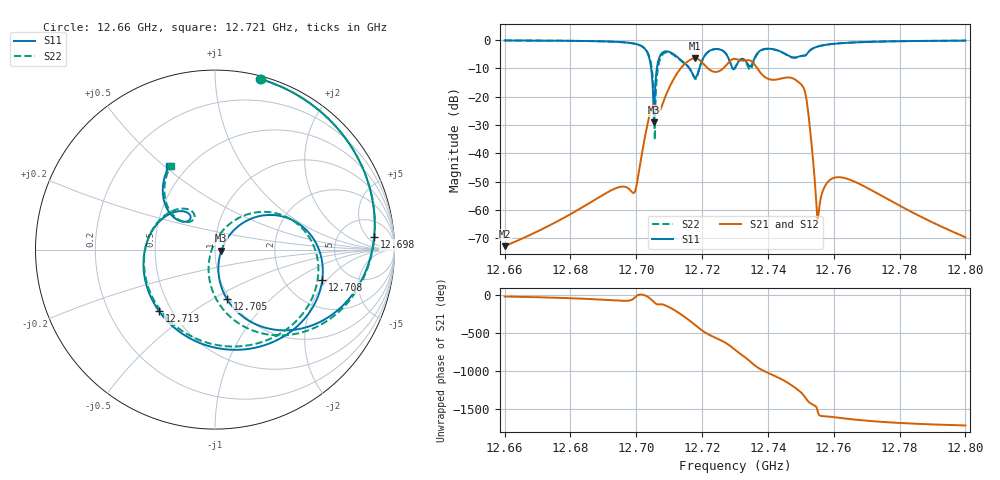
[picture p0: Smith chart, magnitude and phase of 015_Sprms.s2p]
! TOUCHSTONE file generated by CST MICROWAVE STUDIO
! Date and time: Wed Jul 31 11:21:23 2024
! Project name: WaveGuide_BPF-Ver4.1_U-shape_Ku_T3_C4_CWA_2.cst
! Parameters = {cavity_h=16; cavity_l0=10; cavity_l1=15.1712; cavity_l2=16.8484; cavity_l3=17.091; cavity_l4=17.3014; cavity_l5=17.1413; cavity_l6=17.5877; cavity_r=2.5; cavity_screw_l=0.5; cavity_screw_r=1.5; cavity_w=8; iris_h00=0; iris_h01=8.8247; iris_h112=0; iris_h12=5.6026; iris_h211=3.6645; i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
! Header version: 2018
! Port assignment regex: !\s*Touchstone port\s*([0-9]+)\s*=\s*(CST MWS port|CST DS port)\s*([0-9]+|Zmin|Zmax)\s*\(\"(.*)\"\)(\s*mode\s*([0-9]+))?.*
! Touchstone port assignment:
! Touchstone port 1 = CST MWS port 1 ("")
! Touchstone port 2 = CST MWS port 2 ("")
# GHz S RI R 50
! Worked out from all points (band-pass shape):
!   5001 points, 12.66 GHz to 12.8 GHz, reference 50 ohm
!   highest |S21| = -6.43 dB at 12.718 GHz (marker M1); lowest = -72.7 dB at 12.66 GHz (marker M2)
!   |S21| within 3 dB of the highest: 12.7139 GHz to 12.72127 GHz (7.366 MHz wide, 0.0579 % of centre); 12.72689 GHz to 12.73642 GHz (9.527 MHz wide, 0.0748 % of centre)
!   lowest |S11| = -29.0 dB at 12.705 GHz (marker M3), VSWR 1.07, Z = 53.6 - j0.685 ohm
!   |S11| at or under -10 dB: 12.70453 GHz to 12.70626 GHz (1.73 MHz wide, 0.0136 % of centre); 12.71621 GHz to 12.71916 GHz (2.949 MHz wide, 0.0232 % of centre); 12.72924 GHz to 12.72993 GHz (692.5 kHz wide, 0.00544 % of centre)
!   |S22| runs from -35.3 to -0.1 dB; largest |S21 - S12| = 1e-09
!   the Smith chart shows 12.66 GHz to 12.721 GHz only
!   S11 on the Smith chart (normalised r, x): 12.66 GHz: 0.02, +1.30; 12.698 GHz: 12, +8; 12.705 GHz: 0.97, -0.58; 12.708 GHz: 3.22, -1.78; 12.713 GHz: 0.43, -0.37; 12.721 GHz: 0.40, +0.52
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12.66  0.2531 0.9502  0.000219 -7.53e-05  0.000219 -7.53e-05  0.2576 0.9489
12.68335  0.6374 0.7235  0.000747 -0.000806  0.000747 -0.000806  0.6437 0.7175
12.69811  0.8867 0.0713  0.000766 -0.00214  0.000766 -0.00214  0.8861 0.0502
12.70463  0.0658 -0.2741  0.0297 -0.0545  0.0297 -0.0545  0.0486 -0.3368
12.70539  0.035 -0.00638  -0.00354 -0.0719  -0.00354 -0.0719  -0.0347 -0.0805
12.70668  0.3835 0.1827  -0.0307 -0.048  -0.0307 -0.048  0.2693 0.2104
12.70841  0.5976 -0.1697  -0.0542 -0.0677  -0.0542 -0.0677  0.5759 -0.1017
12.71317  -0.3128 -0.3417  -0.1414 0.2641  -0.1414 0.2641  -0.3183 -0.3181
12.71785  -0.1395 0.1684  0.4045 -0.2529  0.4045 -0.2529  -0.1193 0.1686
12.72079  -0.2572 0.463  -0.2231 -0.2838  -0.2231 -0.2838  -0.2471 0.466
12.72619  0.5087 0.4099  -0.1302 0.2797  -0.1302 0.2797  0.5174 0.4006
12.73  0.2652 0.1812  0.4651 0.000422  0.4651 0.000422  0.2783 0.1707
12.73487  0.33 0.1202  -0.4104 -0.1226  -0.4104 -0.1226  0.2886 0.1086
12.73896  0.6505 -0.2453  0.045 0.2206  0.045 0.2206  0.6502 -0.2302
12.74305  0.0197 -0.6539  0.2031 -0.00903  0.2031 -0.00903  0.0203 -0.6506
12.74655  -0.5159 -0.0515  0.00965 -0.218  0.00965 -0.218  -0.51 -0.0347
12.75103  0.3642 0.3852  -0.0509 0.1252  -0.0509 0.1252  0.3876 0.3588
12.75335  0.6893 0.079  0.0128 0.00132  0.0128 0.00132  0.6945 0.0458
12.75528  0.7092 -0.3044  -0.000345 -0.000711  -0.000345 -0.000711  0.6986 -0.3351
12.7608  0.1951 -0.8438  -0.00372 -0.000735  -0.00372 -0.000735  0.1714 -0.8509
12.77668  -0.7955 -0.5126  -0.00092 0.00122  -0.00092 0.00122  -0.8027 -0.5023
12.8  -0.9682 0.127  2.48e-05 0.000332  2.48e-05 0.000332  -0.9675 0.1339
